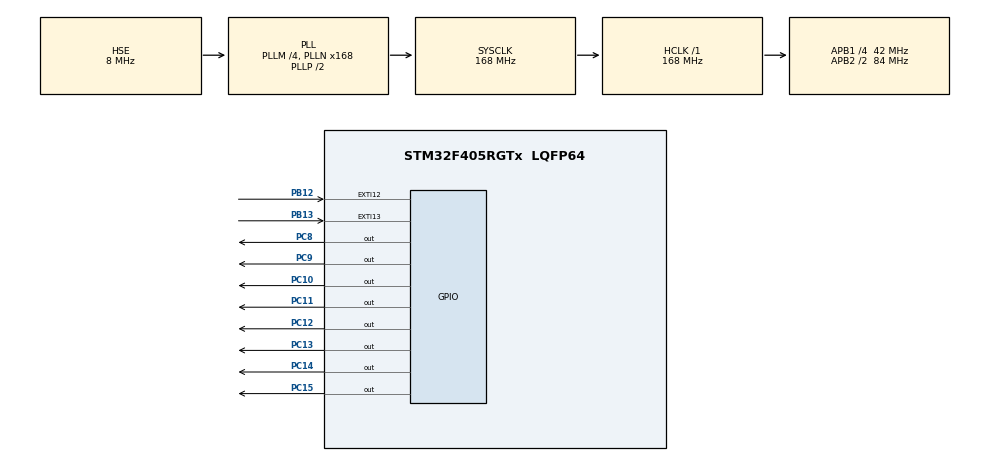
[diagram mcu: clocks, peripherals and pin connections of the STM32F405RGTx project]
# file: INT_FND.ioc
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Mcu.Family=STM32F4
RCC.PLLSourceVirtual=RCC_PLLSOURCE_HSE
PH0-OSC_IN.Signal=RCC_OSC_IN
RCC.CortexFreq_Value=168000000
PC10.Signal=GPIO_Output
PC11.Signal=GPIO_Output
PC12.Signal=GPIO_Output
PC8.Signal=GPIO_Output
RCC.APB1CLKDivider=RCC_HCLK_DIV4
PC14-OSC32_IN.Signal=GPIO_Output
PB13.Signal=GPXTI13
RCC.SYSCLKSource=RCC_SYSCLKSOURCE_PLLCLK
ProjectManager.StackSize=0x400
PA13.Signal=SYS_JTMS-SWDIO
ProjectManager.TargetToolchain=EWARM V8.32
RCC.HCLKFreq_Value=168000000
RCC.APB2TimFreq_Value=168000000
RCC.LSE_VALUE=32768
PC15-OSC32_OUT.Signal=GPIO_Output
RCC.AHBFreq_Value=168000000
PH0-OSC_IN.Mode=HSE-External-Oscillator
NVIC.EXTI15_10_IRQn=true\:0\:0\:false\:false\:true\:true\:true
RCC.HSE_VALUE=8000000
board=custom
PC13-ANTI_TAMP.Signal=GPIO_Output
RCC.VCOOutputFreq_Value=336000000
RCC.APB2Freq_Value=84000000
PA14.Mode=Serial_Wire
PH1-OSC_OUT.Signal=RCC_OSC_OUT
PA13.Mode=Serial_Wire
Mcu.Name=STM32F405RGTx
PH1-OSC_OUT.Mode=HSE-External-Oscillator
RCC.48MHZClocksFreq_Value=84000000
RCC.SYSCLKFreq_VALUE=168000000
Mcu.Package=LQFP64
PA14.Signal=SYS_JTCK-SWCLK
ProjectManager.HeapSize=0x200
RCC.HSI_VALUE=16000000
NVIC.PriorityGroup=NVIC_PRIORITYGROUP_4
RCC.APB2CLKDivider=RCC_HCLK_DIV2
RCC.PLLM=4
RCC.PLLN=168
RCC.APB1TimFreq_Value=84000000
PC9.Signal=GPIO_Output
RCC.APB1Freq_Value=42000000
PB12.Signal=GPXTI12

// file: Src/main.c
/* USER CODE BEGIN Header */
/**
  ******************************************************************************
  * @file           : main.c
  * @brief          : Main program body
  ******************************************************************************
  * @attention
  *
  * <h2><center>&copy; Copyright (c) 2020 STMicroelectronics.
  * All rights reserved.</center></h2>
  *
  * This software component is licensed by ST under BSD 3-Clause license,
  * the "License"; You may not use this file except in compliance with the
  * License. You may obtain a copy of the License at:
  *                        opensource.org/licenses/BSD-3-Clause
  *
  ******************************************************************************
  */
/* USER CODE END Header */

#include "main.h"
#include "gpio.h"

/* USER CODE BEGIN PV */
unsigned char Time_STOP = 0;
unsigned char cnt = 0;

unsigned int FND_DATA_TBL[] = {0x3F00, 0x0600, 0x5B00, 0x4F00, 0x6600, 0x6D00,
                                 0x7C00, 0x0700, 0x7F00, 0x6700, 0x7700, 0x7C00,
                                 0x3900, 0x5E00, 0x7900, 0x7100, 0x0800, 0x8000};
/* USER CODE END PV */

void SystemClock_Config(void);

int main(void)
{

  /* MCU Configuration--------------------------------------------------------*/

  /* Reset of all peripherals, Initializes the Flash interface and the Systick. */
  HAL_Init();

  /* Configure the system clock */
  SystemClock_Config();

  /* Initialize all configured peripherals */
  MX_GPIO_Init();

  /* Infinite loop */
  /* USER CODE BEGIN WHILE */
  HAL_GPIO_WritePin(GPIOC, FND_DATA_TBL[cnt], GPIO_PIN_SET);
  while (1)
  {
    if(!Time_STOP)
    {
      HAL_GPIO_WritePin(GPIOC, GPIO_PIN_All, GPIO_PIN_RESET);
      HAL_GPIO_WritePin(GPIOC, FND_DATA_TBL[cnt], GPIO_PIN_SET);
      if(cnt==17) cnt = 0;
      else cnt++;
      HAL_Delay(200);
    }
    /* USER CODE END WHILE */

  }
}

void SystemClock_Config(void)
{
  RCC_OscInitTypeDef RCC_OscInitStruct = {0};
  RCC_ClkInitTypeDef RCC_ClkInitStruct = {0};

  /** Configure the main internal regulator output voltage
  */
  __HAL_RCC_PWR_CLK_ENABLE();
  __HAL_PWR_VOLTAGESCALING_CONFIG(PWR_REGULATOR_VOLTAGE_SCALE1);
  /** Initializes the CPU, AHB and APB busses clocks
  */
  RCC_OscInitStruct.OscillatorType = RCC_OSCILLATORTYPE_HSE;
  RCC_OscInitStruct.HSEState = RCC_HSE_ON;
  RCC_OscInitStruct.PLL.PLLState = RCC_PLL_ON;
  RCC_OscInitStruct.PLL.PLLSource = RCC_PLLSOURCE_HSE;
  RCC_OscInitStruct.PLL.PLLM = 4;
  RCC_OscInitStruct.PLL.PLLN = 168;
  RCC_OscInitStruct.PLL.PLLP = RCC_PLLP_DIV2;
  RCC_OscInitStruct.PLL.PLLQ = 4;
  if (HAL_RCC_OscConfig(&RCC_OscInitStruct) != HAL_OK)
  {
    Error_Handler();
  }
  /** Initializes the CPU, AHB and APB busses clocks
  */
  RCC_ClkInitStruct.ClockType = RCC_CLOCKTYPE_HCLK|RCC_CLOCKTYPE_SYSCLK
                              |RCC_CLOCKTYPE_PCLK1|RCC_CLOCKTYPE_PCLK2;
  RCC_ClkInitStruct.SYSCLKSource = RCC_SYSCLKSOURCE_PLLCLK;
  RCC_ClkInitStruct.AHBCLKDivider = RCC_SYSCLK_DIV1;
  RCC_ClkInitStruct.APB1CLKDivider = RCC_HCLK_DIV4;
  RCC_ClkInitStruct.APB2CLKDivider = RCC_HCLK_DIV2;

  if (HAL_RCC_ClockConfig(&RCC_ClkInitStruct, FLASH_LATENCY_5) != HAL_OK)
  {
    Error_Handler();
  }
}

/* USER CODE BEGIN 4 */
void HAL_GPIO_EXTI_Callback(uint16_t GPIO_Pin)
{
  if(GPIO_Pin == GPIO_PIN_12) Time_STOP = ~Time_STOP;
  else if(GPIO_Pin == GPIO_PIN_13)
  {
    cnt=0;
    HAL_GPIO_WritePin(GPIOC, GPIO_PIN_All, GPIO_PIN_RESET);
    HAL_GPIO_WritePin(GPIOC, FND_DATA_TBL[cnt], GPIO_PIN_SET);
  }
}
/* USER CODE END 4 */

void Error_Handler(void)
{
}

/************************ (C) COPYRIGHT STMicroelectronics *****END OF FILE****/
